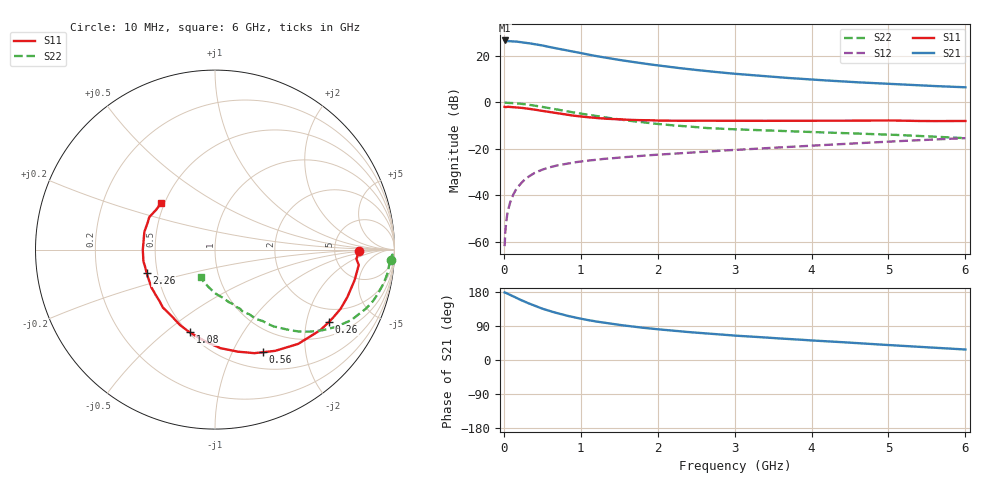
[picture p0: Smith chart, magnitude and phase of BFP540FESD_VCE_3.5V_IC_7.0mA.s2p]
! Infineon Technologies  Discrete & RF Semiconductors
! BFP540FESD
! VCE =  3.5 V,  IC =  7.0 mA
! Common Emitter S-Parameters:  Nov 2015
# GHz  S  MA  R  50
!  f  S11  S21  S12  S22
! GHz  MAG  ANG  MAG  ANG  MAG  ANG  MAG  ANG
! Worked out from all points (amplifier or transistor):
!   210 points, 10 MHz to 6 GHz, reference 50 ohm
!   highest |S21| = 26.7 dB at 10 MHz (marker M1)
!   |S21| within 3 dB of that: start of sweep to 621.3 MHz
!   unconditionally stable (mu >= 1): 2.493 GHz to end of sweep
!   at 185 MHz: K = 0.15, MSG = 31.2 dB, |S12| = -36.4 dB
!   at 1.52 GHz: K = 0.73, MSG = 21.0 dB, |S12| = -23.7 dB
!   at 6 GHz: K = 1.26, MAG = 7.9 dB, |S12| = -15.4 dB
!   S11 on the Smith chart (normalised r, x): 10 MHz: 9.09, -0.36; 260 MHz: 1.46, -2.72; 560 MHz: 0.70, -1.32; 1.08 GHz: 0.51, -0.61; 2.26 GHz: 0.44, -0.13; 6 GHz: 0.48, +0.30
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0.01  0.8021 -0.5  21.57 178.3  0.0008 57.7  0.9802 -3.5
0.02  0.7895 -3.8  20.81 177.7  0.0017 83.1  0.9888 -1.6
0.05  0.8055 -6.1  20.91 174.9  0.0043 83.7  0.9764 -3.7
0.15  0.7835 -19.7  20.54 165.3  0.0126 77.9  0.9592 -11.1
0.2  0.7735 -25.3  20.06 160.2  0.0163 76.4  0.9425 -14.7
0.26  0.7519 -32.5  19.52 155.0  0.0208 73.7  0.9209 -18.8
0.3  0.7384 -37.5  19.15 151.3  0.0237 70.9  0.9034 -21.3
0.4  0.7004 -48.6  17.99 143.0  0.0302 65.8  0.8555 -27.3
0.5  0.6565 -59.2  16.83 135.5  0.0356 63.1  0.7999 -32.6
0.56  0.6306 -65.1  16.02 131.6  0.0383 61.0  0.7678 -35.2
0.6  0.6173 -69.2  15.52 128.8  0.0401 59.7  0.7473 -37.0
0.8  0.5498 -86.9  13.34 117.8  0.0472 54.4  0.6512 -44.5
1.02  0.493 -102.6  11.32 108.3  0.0541 51.4  0.5662 -50.3
1.08  0.4814 -106.9  10.85 105.9  0.0554 50.6  0.5459 -52.0
1.22  0.4595 -116.1  9.82 101.0  0.0585 48.9  0.5017 -54.9
1.5  0.4341 -132.0  8.229 92.7  0.0647 47.5  0.4308 -60.6
2.02  0.406 -154.2  6.208 80.7  0.0751 45.7  0.3411 -69.5
2.26  0.4023 -161.3  5.538 76.4  0.0795 45.3  0.315 -72.7
3.1  0.4013 178.6  4.012 63.2  0.0967 44.2  0.2596 -84.3
4.1  0.4049 164.6  3.03 50.5  0.1196 42.1  0.2271 -94.3
5.1  0.4054 152.2  2.463 38.3  0.1454 37.5  0.1994 -104.4
6  0.3976 138.9  2.114 27.7  0.1698 32.3  0.1698 -116.6
